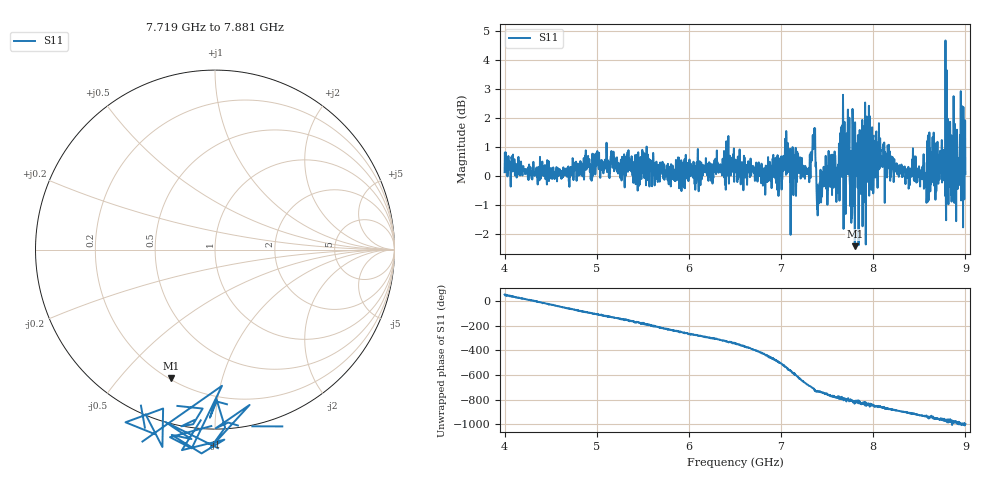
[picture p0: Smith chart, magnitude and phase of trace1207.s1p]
! Created with skrf 1.8.0 (http://scikit-rf.org).
# Hz S RI R 50.0
!freq ReS11 ImS11
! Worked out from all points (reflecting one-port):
!   1601 points, 4 GHz to 9 GHz, reference 50 ohm
!   lowest |S11| = -2.4 dB at 7.8 GHz (marker M1), VSWR 7.23, Z = 10.4 - j34.7 ohm
!   phase of S11 starts at 53 deg and turns -1052 deg over the sweep
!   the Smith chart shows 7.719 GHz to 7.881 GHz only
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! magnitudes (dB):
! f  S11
! 4 GHz  0.1
! 4.625 GHz  -0.1
! 5.25 GHz  0.1
! 5.875 GHz  0.1
! 6.5 GHz  0.4
! 6.806 GHz  0.2
! 7.069 GHz  0.7
! 7.125 GHz  1.0
! 7.294 GHz  0.1
! 7.347 GHz  1.0
! 7.409 GHz  -1.0
! 7.538 GHz  0.6
! 7.619 GHz  0.4
! 7.65 GHz  1.7
! 7.719 GHz  1.5
! 7.75 GHz  0.0
! 7.775 GHz  2.3
! 7.8 GHz  -2.4
! 7.947 GHz  0.5
! 7.997 GHz  0.6
! 8.05 GHz  1.2
! 8.375 GHz  -0.1
! 8.441 GHz  -0.1
! 8.575 GHz  0.1
! 8.809 GHz  2.0
! 8.919 GHz  -0.2
! 8.956 GHz  0.6
! 9 GHz  0.1
